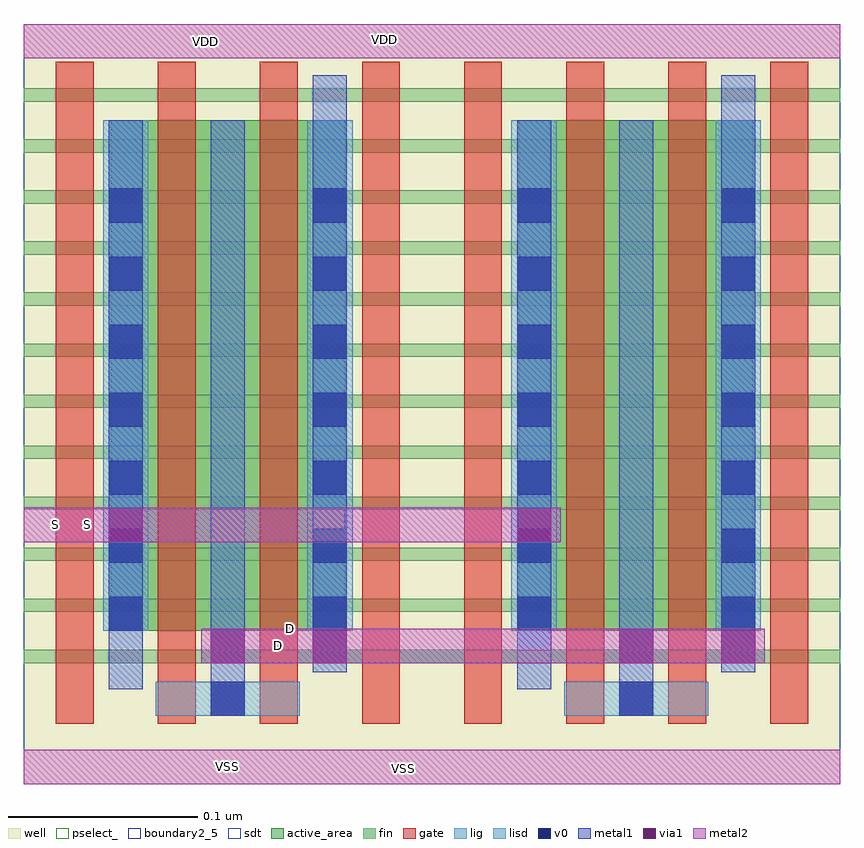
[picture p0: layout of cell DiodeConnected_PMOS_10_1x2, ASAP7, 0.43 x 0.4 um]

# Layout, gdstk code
import gdstk
lib = gdstk.Library(unit=1e-6, precision=2.5e-10)
def R(c, l, rs):  # rectangles x0, y0, x1, y1
    for r in rs: c.add(gdstk.rectangle(r[:2], r[2:], *l))
def A(c, l, x, y, w, h, nx, ny, dx, dy):  # array of equal rectangles
    R(c, l, [(x+i*dx, y+j*dy, x+i*dx+w, y+j*dy+h) for i in range(nx) for j in range(ny)])
well = (1, 0)
fin = (2, 0)
gate = (7, 0)
active_area = (11, 0)
pselect_ = (13, 0)
lig = (16, 0)
lisd = (17, 0)
v0 = (18, 0)
metal1 = (19, 0)
metal2 = (20, 0)
via1 = (21, 0)
sdt = (88, 0)
boundary2_5 = (235, 5)

m2_m1_cdns_543942674190 = lib.new_cell('M2_M1_CDNS_543942674190')
R(m2_m1_cdns_543942674190, metal1, [(-0.009,-0.014,0.009,0.014)])
R(m2_m1_cdns_543942674190, metal2, [(-0.014,-0.009,0.014,0.009)])
R(m2_m1_cdns_543942674190, via1, [(-0.009,-0.009,0.009,0.009)])

diodeconnected_pmos_10_1 = lib.new_cell('DiodeConnected_PMOS_10_1x2')
R(diodeconnected_pmos_10_1, well, [(0,0,0.216,0.402), (0.216,0,0.432,0.402)])
A(diodeconnected_pmos_10_1, fin, 0, 0.064, 0.216, 0.007, 1, 11, 0, 0.027)
A(diodeconnected_pmos_10_1, fin, 0.216, 0.064, 0.216, 0.007, 1, 11, 0, 0.027)
R(diodeconnected_pmos_10_1, fin, [(0,0.334,0.216,0.341), (0.216,0.334,0.432,0.341), (0,0.361,0.216,0.368), (0,0.361,0.216,0.368), (0.216,0.361,0.432,0.368), (0.216,0.361,0.432,0.368)])
A(diodeconnected_pmos_10_1, gate, 0.017, 0.032, 0.02, 0.35, 8, 1, 0.054, 0)
R(diodeconnected_pmos_10_1, active_area, [(0.046,0.081,0.17,0.351), (0.262,0.081,0.386,0.351)])
R(diodeconnected_pmos_10_1, pselect_, [(0,0,0.216,0.402), (0.216,0,0.432,0.402)])
R(diodeconnected_pmos_10_1, lig, [(0.07,0.036,0.146,0.054), (0.286,0.036,0.362,0.054)])
A(diodeconnected_pmos_10_1, lisd, 0.042, 0.081, 0.024, 0.27, 4, 1, 0.108, 0)
A(diodeconnected_pmos_10_1, v0, 0.045, 0.081, 0.018, 0.018, 4, 7, 0.108, 0.036)
R(diodeconnected_pmos_10_1, v0, [(0.099,0.036,0.117,0.054), (0.315,0.036,0.333,0.054)])
R(diodeconnected_pmos_10_1, metal1, [(0.099,0.036,0.117,0.351), (0.315,0.036,0.333,0.351), (0.045,0.05,0.063,0.351), (0.261,0.05,0.279,0.351), (0.153,0.059,0.171,0.375), (0.369,0.059,0.387,0.375)])
R(diodeconnected_pmos_10_1, metal2, [(0,0,0.432,0.018), (0,0,0.432,0.018), (0.094,0.064,0.392,0.082), (0.094,0.064,0.392,0.082), (0,0.128,0.284,0.146), (0,0.128,0.284,0.146), (0,0.384,0.432,0.402), (0,0.384,0.432,0.402)])
A(diodeconnected_pmos_10_1, sdt, 0.042, 0.081, 0.024, 0.27, 4, 1, 0.108, 0)
R(diodeconnected_pmos_10_1, boundary2_5, [(0,0,0.432,0.402)])
diodeconnected_pmos_10_1.add(gdstk.Reference(m2_m1_cdns_543942674190, (0.27,0.137)))
diodeconnected_pmos_10_1.add(gdstk.Reference(m2_m1_cdns_543942674190, (0.324,0.073)))
diodeconnected_pmos_10_1.add(gdstk.Reference(m2_m1_cdns_543942674190, (0.378,0.073)))
diodeconnected_pmos_10_1.add(gdstk.Reference(m2_m1_cdns_543942674190, (0.054,0.137)))
diodeconnected_pmos_10_1.add(gdstk.Reference(m2_m1_cdns_543942674190, (0.108,0.073)))
diodeconnected_pmos_10_1.add(gdstk.Reference(m2_m1_cdns_543942674190, (0.162,0.073)))
diodeconnected_pmos_10_1.add(gdstk.Label('VDD', (0.096,0.393), layer=20, texttype=0))
diodeconnected_pmos_10_1.add(gdstk.Label('S', (0.034,0.137), layer=20, texttype=0))
diodeconnected_pmos_10_1.add(gdstk.Label('D', (0.141,0.082), layer=20, texttype=0))
diodeconnected_pmos_10_1.add(gdstk.Label('VSS', (0.108,0.009), layer=20, texttype=0))
diodeconnected_pmos_10_1.add(gdstk.Label('S', (0.017,0.137), layer=20, texttype=0))
diodeconnected_pmos_10_1.add(gdstk.Label('D', (0.135,0.073), layer=20, texttype=0))
diodeconnected_pmos_10_1.add(gdstk.Label('VSS', (0.201,0.008), layer=20, texttype=0))
diodeconnected_pmos_10_1.add(gdstk.Label('VDD', (0.191,0.394), layer=20, texttype=0))

lib.write_gds('DiodeConnected_PMOS_10_1x2.gds')
